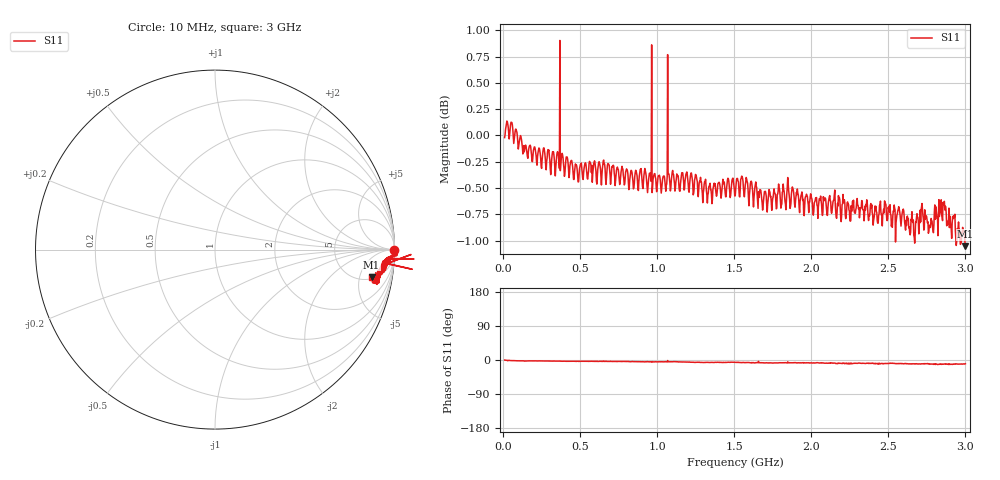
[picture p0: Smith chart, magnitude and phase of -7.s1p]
# HZ S RI R 50
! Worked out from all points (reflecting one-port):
!   1010 points, 10 MHz to 3 GHz, reference 50 ohm
!   lowest |S11| = -1.1 dB at 3 GHz (marker M1), VSWR 16.52, Z = 273 - j387 ohm
!   phase of S11 starts at -0 deg and turns -10 deg over the sweep
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1e7  0.9977 -0.00308
1.463132e8  0.9884 -0.0464
3.50783e8  0.9799 -0.0525
3.685629e8  1.108 -0.0524
3.863429e8  0.9771 -0.0561
7.597225e8  0.9479 -0.0634
9.464123e8  0.9523 -0.0792
9.493756e8  0.9558 -0.0824
9.701189e8  0.9414 -0.0805
9.819722e8  0.9555 -0.0826
1.041239e9  0.9531 -0.0805
1.082725e9  0.9456 -0.0776
1.085689e9  0.9379 -0.0777
1.133102e9  0.9533 -0.0773
1.299049e9  0.933 -0.1062
1.506482e9  0.9306 -0.1013
1.622052e9  0.926 -0.1083
1.879861e9  0.9364 -0.12
2.048771e9  0.9205 -0.1219
2.253241e9  0.9 -0.1374
2.321397e9  0.9128 -0.1397
2.460674e9  0.8947 -0.1408
2.522904e9  0.8988 -0.1363
2.62662e9  0.8976 -0.1583
2.727374e9  0.8997 -0.1537
2.77775e9  0.8975 -0.1681
2.84887e9  0.8991 -0.1684
3e9  0.8727 -0.1521
